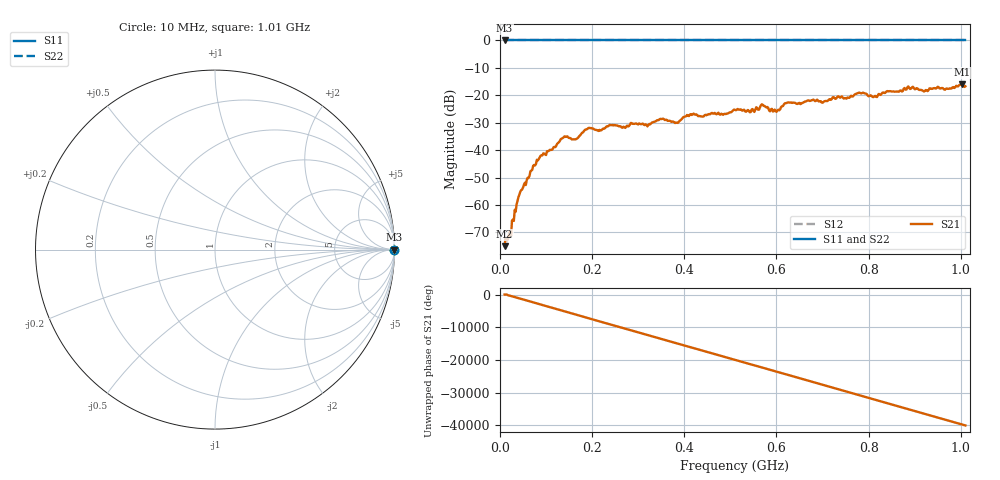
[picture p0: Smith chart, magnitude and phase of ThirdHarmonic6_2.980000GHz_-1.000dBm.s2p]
! 8/17/2025 8:27:50 AM
! C:\ANRITSUVNA\TEMP\TEMP.S2P
! CHANNEL.1
! TR.MEASUREMENT
! RAW.DATA
! RF.CORRECTION.OFF
! AVERAGING.OFF
! IF.BANDWIDTH: 5KHZ
! SWEEPTYPE:  FREQ.SWEEP(Linear)
! Reference Plane Port Info
! PORT:  PORT1  PORT2
! DISTANCE:  0  m  0  m
! TIME:  0  s  0  s
! PHASE.OFFSET:  0  deg.  0  deg.
! LOSS:  0  dB  0  dB
! REF.LOSS:  0  dB  0  dB
! REF.FREQ:  0  Hz  0  Hz
! Power Info
! POWER:  -20  dBm  -20  dBm
! EFF.POWER:  -20  dBm  -20  dBm
! SOURCE.ATTEN:  0  dB  0  dB
! TEST.ATTEN:  0  dB  0  dB
# GHZ S RI R 50.0
! FREQ.GHZ  S11RE  S11IM  S21RE  S21IM  S12RE  S12IM  S22RE  S22IM
!; PortSelection: Port_12
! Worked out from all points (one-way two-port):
!   501 points, 10 MHz to 1.01 GHz, reference 50 ohm
!   highest |S21| = -16.02 dB at 1.002 GHz (marker M1); lowest = -75.0 dB at 10 MHz (marker M2)
!   lowest |S11| = 0.0 dB at 10 MHz (marker M3)
!   |S11| at or under -10 dB: nowhere
!   |S22| runs from 0.0 to 0.0 dB; largest |S21 - S12| = 1.1
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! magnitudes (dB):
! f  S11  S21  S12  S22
! 10 MHz  0.0  -75.0  0.0  0.0
! 20 MHz  0.0  -70.2  0.0  0.0
! 44 MHz  0.0  -55.2  0.0  0.0
! 84 MHz  0.0  -43.3  0.0  0.0
! 136 MHz  0.0  -35.6  0.0  0.0
! 164 MHz  0.0  -36.1  0.0  0.0
! 178 MHz  0.0  -33.7  0.0  0.0
! 194 MHz  0.0  -31.9  0.0  0.0
! 344 MHz  0.0  -29.1  0.0  0.0
! 384 MHz  0.0  -30.0  0.0  0.0
! 416 MHz  0.0  -27.2  0.0  0.0
! 510 MHz  0.0  -25.3  0.0  0.0
! 548 MHz  0.0  -25.0  0.0  0.0
! 570 MHz  0.0  -23.4  0.0  0.0
! 596 MHz  0.0  -25.2  0.0  0.0
! 622 MHz  0.0  -22.8  0.0  0.0
! 678 MHz  0.0  -21.8  0.0  0.0
! 780 MHz  0.0  -19.0  0.0  0.0
! 814 MHz  0.0  -20.2  0.0  0.0
! 844 MHz  0.0  -18.6  0.0  0.0
! 1.002 GHz  0.0  -16.0  0.0  0.0
! 1.01 GHz  0.0  -16.7  0.0  0.0
